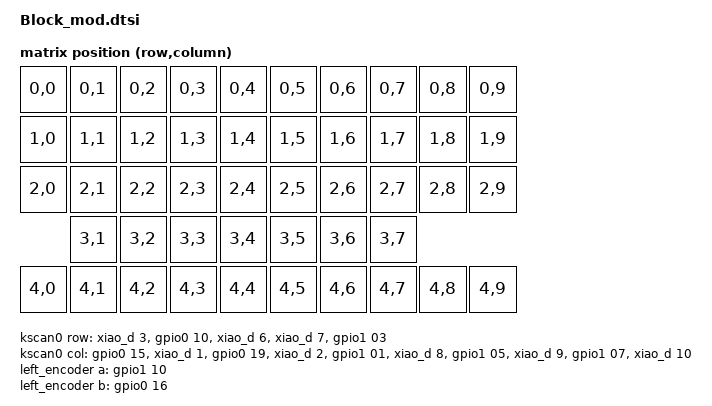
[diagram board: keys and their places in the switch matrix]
#include <dt-bindings/zmk/matrix_transform.h>

/ {
    chosen {
        zmk,physical-layout = &physical_layout0;
    };

physical_layout0: physical_layout_0 {
        compatible = "zmk,physical-layout";
        display-name = "Default Layout";
        kscan = <&kscan0>;
        transform = <&default_transform>;
	keys  //                      w   h  x   y rot rx ry
	    = <&key_physical_attrs 100 100   0   0   0  0  0>
	    , <&key_physical_attrs 100 100 100   0   0  0  0>
	    , <&key_physical_attrs 100 100 200   0   0  0  0>
	    , <&key_physical_attrs 100 100 300   0   0  0  0>
        , <&key_physical_attrs 100 100 400   0   0  0  0>

        , <&key_physical_attrs 100 100 500   0   0  0  0>
        , <&key_physical_attrs 100 100 600   0   0  0  0>
        , <&key_physical_attrs 100 100 700   0   0  0  0>
        , <&key_physical_attrs 100 100 800   0   0  0  0>
        , <&key_physical_attrs 100 100 900   0   0  0  0>

        , <&key_physical_attrs 100 100   0 100   0  0  0>
        , <&key_physical_attrs 100 100 100 100   0  0  0>
	    , <&key_physical_attrs 100 100 200 100   0  0  0>
        , <&key_physical_attrs 100 100 300 100   0  0  0>
        , <&key_physical_attrs 100 100 400 100   0  0  0>

        , <&key_physical_attrs 100 100 500 100   0  0  0>
        , <&key_physical_attrs 100 100 600 100   0  0  0>
        , <&key_physical_attrs 100 100 700 100   0  0  0>
        , <&key_physical_attrs 100 100 800 100   0  0  0>
        , <&key_physical_attrs 100 100 900 100   0  0  0>

        , <&key_physical_attrs 100 100   0 200   0  0  0>
        , <&key_physical_attrs 100 100 100 200   0  0  0>
	    , <&key_physical_attrs 100 100 200 200   0  0  0>
        , <&key_physical_attrs 100 100 300 200   0  0  0>
        , <&key_physical_attrs 100 100 400 200   0  0  0>

        , <&key_physical_attrs 100 100 500 200   0  0  0>
        , <&key_physical_attrs 100 100 600 200   0  0  0>
        , <&key_physical_attrs 100 100 700 200   0  0  0>
        , <&key_physical_attrs 100 100 800 200   0  0  0>
        , <&key_physical_attrs 100 100 900 200   0  0  0>

        //, <&key_physical_attrs 100 100   0 300   0  0  0>
        , <&key_physical_attrs 100 100 100 300   0  0  0>
	    , <&key_physical_attrs 100 100 200 300   0  0  0>
        , <&key_physical_attrs 100 100 300 300   0  0  0>
        , <&key_physical_attrs 100 100 400 300   0  0  0>

        , <&key_physical_attrs 100 100 500 300   0  0  0>
        , <&key_physical_attrs 100 100 600 300   0  0  0>
        , <&key_physical_attrs 100 100 700 300   0  0  0>
        //, <&key_physical_attrs 100 100 800 300   0  0  0>
        //, <&key_physical_attrs 100 100 900 300   0  0  0>

        , <&key_physical_attrs 100 100   0 400   0  0  0>
        , <&key_physical_attrs 100 100 100 400   0  0  0>
	    , <&key_physical_attrs 100 100 200 400   0  0  0>
        , <&key_physical_attrs 100 100 300 400   0  0  0>
        , <&key_physical_attrs 100 100 400 400   0  0  0>

        , <&key_physical_attrs 100 100 500 400   0  0  0>
        , <&key_physical_attrs 100 100 600 400   0  0  0>
        , <&key_physical_attrs 100 100 700 400   0  0  0>
        , <&key_physical_attrs 100 100 800 400   0  0  0>
        , <&key_physical_attrs 100 100 900 400   0  0  0>
	    ;
    };

    default_transform: keymap_transform0 {
        compatible = "zmk,matrix-transform";
        rows = <5>;
        columns = <10>;
        map = <
            RC(0,0) RC(0,1) RC(0,2) RC(0,3) RC(0,4)         RC(0,5) RC(0,6) RC(0,7) RC(0,8) RC(0,9)
            RC(1,0) RC(1,1) RC(1,2) RC(1,3) RC(1,4)         RC(1,5) RC(1,6) RC(1,7) RC(1,8) RC(1,9)
            RC(2,0) RC(2,1) RC(2,2) RC(2,3) RC(2,4)         RC(2,5) RC(2,6) RC(2,7) RC(2,8) RC(2,9)
                            RC(3,1) RC(3,2) RC(3,3) RC(3,4) RC(3,5) RC(3,6) RC(3,7)
            RC(4,0) RC(4,1) RC(4,2) RC(4,3) RC(4,4)         RC(4,5) RC(4,6) RC(4,7) RC(4,8) RC(4,9)
        >;
    };

    kscan0: kscan0 {
        compatible = "zmk,kscan-gpio-matrix";
        diode-direction = "col2row";
        col-gpios
            = <&gpio0 15 GPIO_ACTIVE_HIGH>
            , <&xiao_d 1 GPIO_ACTIVE_HIGH>
            , <&gpio0 19 GPIO_ACTIVE_HIGH>
            , <&xiao_d 2 GPIO_ACTIVE_HIGH>
            , <&gpio1 01 GPIO_ACTIVE_HIGH>
            , <&xiao_d 8 GPIO_ACTIVE_HIGH>
            , <&gpio1 05 GPIO_ACTIVE_HIGH>
            , <&xiao_d 9 GPIO_ACTIVE_HIGH>
            , <&gpio1 07 GPIO_ACTIVE_HIGH>
            , <&xiao_d 10 GPIO_ACTIVE_HIGH>
            ;
        row-gpios
            = <&xiao_d 3 (GPIO_ACTIVE_HIGH | GPIO_PULL_DOWN)>
            , <&gpio0 10 (GPIO_ACTIVE_HIGH | GPIO_PULL_DOWN)>
            , <&xiao_d 6 (GPIO_ACTIVE_HIGH | GPIO_PULL_DOWN)>
            , <&xiao_d 7 (GPIO_ACTIVE_HIGH | GPIO_PULL_DOWN)>
            , <&gpio1 03 (GPIO_ACTIVE_HIGH | GPIO_PULL_DOWN)>
            ;
    };

    left_encoder: encoder_left {
        compatible = "alps,ec11";
        a-gpios = <&gpio1 10 (GPIO_ACTIVE_HIGH | GPIO_PULL_UP)>;
        b-gpios = <&gpio0 16 (GPIO_ACTIVE_HIGH | GPIO_PULL_UP)>;
        steps = <24>;
        status = "disabled";
    };

    right_encoder: encoder_right {
        status = "disabled";
    };

    sensors: sensors {
        compatible = "zmk,keymap-sensors";
        sensors = <&left_encoder &right_encoder>;
        triggers-per-rotation = <24>;
    };
};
